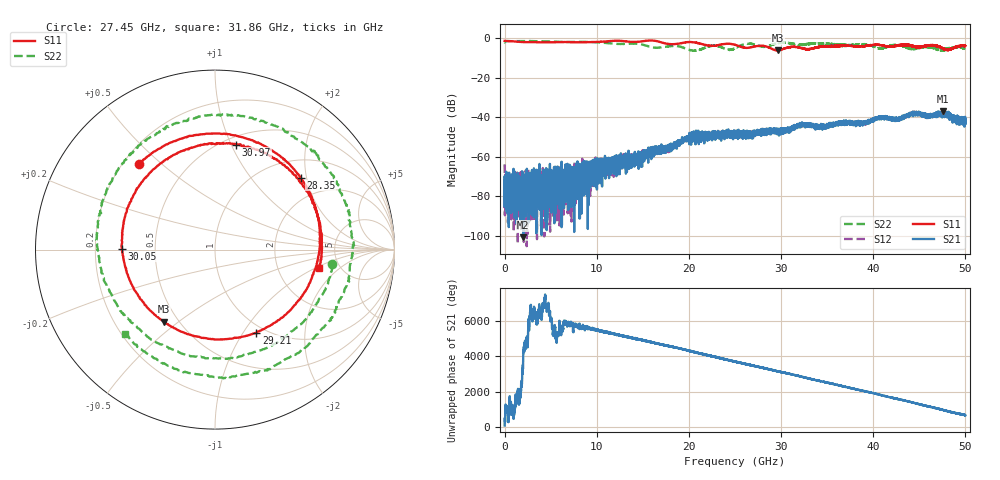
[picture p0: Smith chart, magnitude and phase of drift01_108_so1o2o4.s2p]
!Created with skrf (http://scikit-rf.org).
# Hz S RI R 50.0
!freq ReS11 ImS11 ReS21 ImS21 ReS12 ImS12 ReS22 ImS22
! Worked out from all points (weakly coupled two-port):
!   10001 points, 300 kHz to 50 GHz, reference 50 ohm
!   highest |S21| = -36.84 dB at 47.56 GHz (marker M1); lowest = -100.8 dB at 2.02 GHz (marker M2)
!   lowest |S11| = -6.2 dB at 29.64 GHz (marker M3), VSWR 2.93, Z = 21 - j22.2 ohm
!   |S11| at or under -10 dB: nowhere
!   |S22| runs from -6.4 to -1.4 dB; largest |S21 - S12| = 0.0036
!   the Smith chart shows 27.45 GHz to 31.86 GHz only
!   S11 on the Smith chart (normalised r, x): 27.45 GHz: 0.26, +0.42; 28.35 GHz: 1.41, +1.85; 29.21 GHz: 0.91, -1.15; 30.05 GHz: 0.32, +0.01; 30.97 GHz: 0.57, +1.04; 31.86 GHz: 3.49, -1.07
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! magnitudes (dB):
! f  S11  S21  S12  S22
! 300 kHz  -1.3  -70.2  -63.9  -2.1
! 255.3 MHz  -1.4  -70.7  -80.5  -1.4
! 2.02 GHz  -1.9  -100.8  -87.8  -1.4
! 6.09 GHz  -1.9  -72.2  -73.4  -1.8
! 8.335 GHz  -2.0  -88.9  -69.9  -1.8
! 16.67 GHz  -1.6  -57.1  -56.5  -4.8
! 18.62 GHz  -2.9  -52.4  -53.6  -3.9
! 20.32 GHz  -1.9  -52.0  -48.7  -6.2
! 22.61 GHz  -3.8  -47.5  -48.9  -3.8
! 25 GHz  -3.3  -49.4  -49.1  -5.1
! 26.2 GHz  -4.9  -49.2  -48.9  -2.9
! 27.45 GHz  -3.9  -47.5  -47.4  -3.6
! 28.35 GHz  -4.1  -47.0  -46.5  -4.2
! 29.21 GHz  -5.7  -46.6  -47.4  -3.0
! 29.64 GHz  -6.2  -47.4  -46.8  -2.5
! 30.05 GHz  -5.7  -47.8  -47.0  -2.3
! 30.97 GHz  -4.5  -46.0  -46.0  -2.4
! 31.86 GHz  -4.6  -44.2  -44.4  -3.3
! 33.34 GHz  -5.3  -44.0  -44.4  -2.7
! 41.67 GHz  -4.3  -40.9  -40.8  -4.2
! 47.56 GHz  -5.1  -36.8  -37.7  -5.6
! 50 GHz  -3.8  -41.5  -42.2  -5.3
